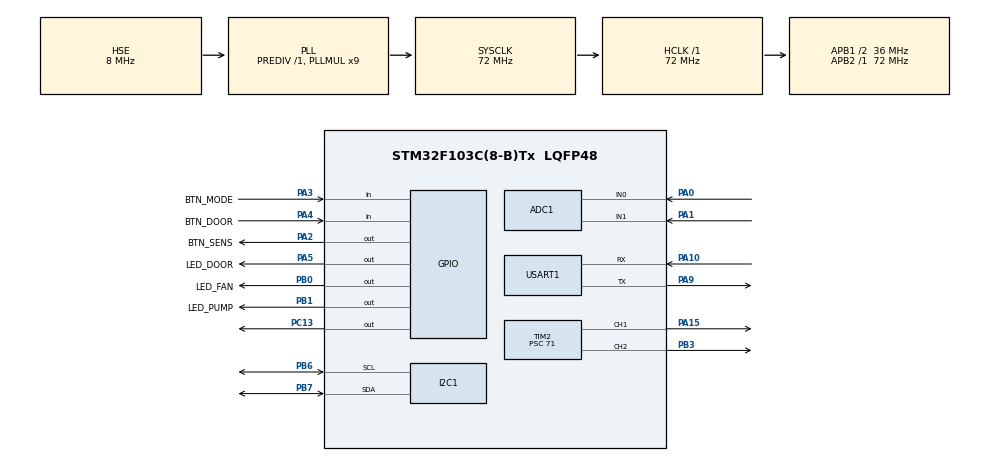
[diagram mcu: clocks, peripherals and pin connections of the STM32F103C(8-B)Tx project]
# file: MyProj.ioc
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ADC1.Channel-0\#ChannelRegularConversion=ADC_CHANNEL_0
ADC1.Channel-1\#ChannelRegularConversion=ADC_CHANNEL_1
ADC1.ContinuousConvMode=ENABLE
ADC1.NbrOfConversion=2
ADC1.NbrOfConversionFlag=1
ADC1.Rank-0\#ChannelRegularConversion=1
ADC1.Rank-1\#ChannelRegularConversion=2
ADC1.SamplingTime-0\#ChannelRegularConversion=ADC_SAMPLETIME_71CYCLES_5
ADC1.SamplingTime-1\#ChannelRegularConversion=ADC_SAMPLETIME_71CYCLES_5
ADC1.master=1
Dma.ADC1.0.Direction=DMA_PERIPH_TO_MEMORY
Dma.ADC1.0.Instance=DMA1_Channel1
Dma.ADC1.0.MemDataAlignment=DMA_MDATAALIGN_HALFWORD
Dma.ADC1.0.MemInc=DMA_MINC_ENABLE
Dma.ADC1.0.Mode=DMA_CIRCULAR
Dma.ADC1.0.PeriphDataAlignment=DMA_PDATAALIGN_HALFWORD
Dma.ADC1.0.PeriphInc=DMA_PINC_DISABLE
Dma.ADC1.0.Priority=DMA_PRIORITY_LOW
Dma.Request0=ADC1
I2C1.I2C_Mode=I2C_Fast
Mcu.Family=STM32F1
Mcu.Name=STM32F103C(8-B)Tx
Mcu.Package=LQFP48
NVIC.DMA1_Channel1_IRQn=true\:0\:0\:false\:false\:true\:false\:true\:true
NVIC.PriorityGroup=NVIC_PRIORITYGROUP_4
NVIC.USART1_IRQn=true\:0\:0\:false\:false\:true\:true\:true\:true
PA0-WKUP.Signal=ADCx_IN0
PA1.Signal=ADCx_IN1
PA10.Mode=Asynchronous
PA10.Signal=USART1_RX
PA13.Mode=Serial_Wire
PA13.Signal=SYS_JTMS-SWDIO
PA14.Mode=Serial_Wire
PA14.Signal=SYS_JTCK-SWCLK
PA15.Signal=S_TIM2_CH1_ETR
PA2.GPIO_Label=BTN_SENS
PA2.GPIO_ModeDefaultOutputPP=GPIO_MODE_OUTPUT_PP
PA2.GPIO_PuPd=GPIO_PULLUP
PA2.Signal=GPIO_Output
PA3.GPIO_Label=BTN_MODE
PA3.GPIO_PuPd=GPIO_PULLUP
PA3.Signal=GPIO_Input
PA4.GPIO_Label=BTN_DOOR
PA4.GPIO_PuPd=GPIO_PULLUP
PA4.Signal=GPIO_Input
PA5.GPIO_Label=LED_DOOR
PA5.Signal=GPIO_Output
PA9.Mode=Asynchronous
PA9.Signal=USART1_TX
PB0.GPIO_Label=LED_FAN
PB0.Signal=GPIO_Output
PB1.GPIO_Label=LED_PUMP
PB1.Signal=GPIO_Output
PB3.Signal=S_TIM2_CH2
PB6.Mode=I2C
PB6.Signal=I2C1_SCL
PB7.Mode=I2C
PB7.Signal=I2C1_SDA
PC13-TAMPER-RTC.Signal=GPIO_Output
PD0-OSC_IN.Mode=HSE-External-Oscillator
PD0-OSC_IN.Signal=RCC_OSC_IN
PD1-OSC_OUT.Mode=HSE-External-Oscillator
PD1-OSC_OUT.Signal=RCC_OSC_OUT
ProjectManager.HeapSize=0x200
ProjectManager.StackSize=0x400
ProjectManager.TargetToolchain=STM32CubeIDE
RCC.ADCPresc=RCC_ADCPCLK2_DIV6
RCC.AHBFreq_Value=72000000
RCC.APB1CLKDivider=RCC_HCLK_DIV2
RCC.APB1Freq_Value=36000000
RCC.APB1TimFreq_Value=72000000
RCC.APB2Freq_Value=72000000
RCC.APB2TimFreq_Value=72000000
RCC.HCLKFreq_Value=72000000
RCC.PLLMUL=RCC_PLL_MUL9
RCC.PLLSourceVirtual=RCC_PLLSOURCE_HSE
RCC.SYSCLKFreq_VALUE=72000000
RCC.SYSCLKSource=RCC_SYSCLKSOURCE_PLLCLK
RCC.USBFreq_Value=72000000
SH.ADCx_IN0.0=ADC1_IN0,IN0
SH.ADCx_IN1.0=ADC1_IN1,IN1
SH.S_TIM2_CH1_ETR.0=TIM2_CH1,PWM Generation1 CH1
SH.S_TIM2_CH2.0=TIM2_CH2,PWM Generation2 CH2
TIM2.AutoReloadPreload=TIM_AUTORELOAD_PRELOAD_ENABLE
TIM2.Channel-PWM\ Generation1\ CH1=TIM_CHANNEL_1
TIM2.Channel-PWM\ Generation2\ CH2=TIM_CHANNEL_2
TIM2.Period=999
TIM2.Prescaler=71
USART1.VirtualMode=VM_ASYNC
VP_TIM2_VS_ClockSourceINT.Mode=Internal
board=custom

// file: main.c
/* USER CODE BEGIN Header */
/**
  ******************************************************************************
  * @file           : main.c
  * @brief          : Main program body
  ******************************************************************************
  * @attention
  *
  * Copyright (c) 2026 STMicroelectronics.
  * All rights reserved.
  *
  * This software is licensed under terms that can be found in the LICENSE file
  * in the root directory of this software component.
  * If no LICENSE file comes with this software, it is provided AS-IS.
  *
  ******************************************************************************
  */
/* USER CODE END Header */
#include "main.h"
#include "adc.h"
#include "dma.h"
#include "i2c.h"
#include "tim.h"
#include "usart.h"
#include "gpio.h"

/* USER CODE BEGIN Includes */
#include "ssd1306.h"
#include "ssd1306_tests.h"
#include "ssd1306_fonts.h"
#include <stdio.h>
#include <string.h>
#include <stdlib.h>
/* USER CODE END Includes */

/* USER CODE BEGIN PTD */

/* ========================= Constants ========================= */

#define ADC_MAX 4095.0f

#define FAN_ON_TEMP       25.0f
#define FAN_OFF_TEMP      24.0f

#define HEAT_START_TEMP   18.0f
#define HEAT_FULL_TEMP    11.0f

#define RX_BUF_LEN 64

/* ========================= PINS ========================= */

#define FAN_GPIO_Port   GPIOB
#define FAN_Pin         GPIO_PIN_0

#define PUMP_GPIO_Port  GPIOB
#define PUMP_Pin        GPIO_PIN_1

#define HEAT_TIM        htim2
#define HEAT_CH         TIM_CHANNEL_1

#define CURTAIN_TIM     htim2
#define CURTAIN_CH      TIM_CHANNEL_2

#define DS18B20_PORT GPIOA
#define DS18B20_PIN  GPIO_PIN_2

/* ========================= VARIABLES ========================= */

volatile uint16_t AD_RES_BUFFER[2];  // [0]=HUM (Rank1), [1]=LDR (Rank2)

typedef enum {
  MODE_AUTO = 0,
  MODE_MANUAL = 1
} SystemMode_t;

SystemMode_t g_mode = MODE_AUTO; // just auto for now
uint8_t door_state = 0;   // 0 = CLOSED , 1 = OPEN
uint8_t btn_mode_last = GPIO_PIN_SET;

uint32_t adc_hum = 0;  // PA0
uint32_t adc_ldr = 0;  // PA1

uint8_t Temp_byte1, Temp_byte2;
uint16_t TEMP;
float Temperature = 0;
uint8_t Presence = 0;

static uint8_t rx_ch;
static char    rx_line[RX_BUF_LEN];
static uint8_t rx_idx = 0;

/*********************************************/
/* USER CODE END PTD */

void SystemClock_Config(void);
/* USER CODE BEGIN PFP */

/* ==================================== UART CONTROL =================================== */

static void PWM_SetPercent(TIM_HandleTypeDef *htim, uint32_t channel, uint8_t duty)
{
    if (duty > 100) duty = 100;
    uint32_t arr = __HAL_TIM_GET_AUTORELOAD(htim);
    uint32_t ccr = ((arr + 1U) * (uint32_t)duty) / 100U;
    __HAL_TIM_SET_COMPARE(htim, channel, ccr);
}

static void UART_Send(const char *s)
{
    HAL_UART_Transmit(&huart1, (uint8_t*)s, (uint16_t)strlen(s), 200);
}

static void Trim(char *s)
{
    size_t n = strlen(s);
    while (n && (s[n-1] == '\r' || s[n-1] == '\n' || s[n-1] == ' ' || s[n-1] == '\t')) s[--n] = 0;

    size_t i = 0;
    while (s[i] == ' ' || s[i] == '\t') i++;
    if (i) memmove(s, s + i, strlen(s + i) + 1);
}

static void ToUpperStr(char *s)
{
    for (; *s; s++) if (*s >= 'a' && *s <= 'z') *s = (char)(*s - 'a' + 'A');
}

static void ProcessCommand(char *cmd)
{
    Trim(cmd);
    ToUpperStr(cmd);

    // ===== STATUS command (works in AUTO and MANUAL) =====
    if (strcmp(cmd, "STATUS") == 0)
    {
        char buf[128];

        uint32_t hum_p = (adc_hum * 100U) / 4095U;
        uint32_t ldr_p = (adc_ldr * 100U) / 4095U;

        // Temperature with 2 decimals (like OLED)
        int temp_int  = (int)Temperature;
        int temp_frac = (int)((Temperature - temp_int) * 100 + 0.5f);
        if (temp_frac >= 100) { temp_frac = 0; temp_int++; }

        snprintf(buf, sizeof(buf),
                 "HUM=%lu%% LDR=%lu%% TEMP=%d.%02dC MODE=%s DOOR=%s\r\n",
                 hum_p, ldr_p,
                 temp_int, temp_frac,
                 (g_mode == MODE_AUTO) ? "AUTO" : "MANUAL",
                 door_state ? "OPEN" : "CLOSED");

        UART_Send(buf);
        return;
    }

    if (g_mode == MODE_AUTO) { UART_Send("AUTO MODE\r\n"); return; }

    if (strcmp(cmd, "FAN ON") == 0)  { HAL_GPIO_WritePin(FAN_GPIO_Port, FAN_Pin, GPIO_PIN_SET);   UART_Send("OK\r\n"); return; }
    if (strcmp(cmd, "FAN OFF") == 0) { HAL_GPIO_WritePin(FAN_GPIO_Port, FAN_Pin, GPIO_PIN_RESET); UART_Send("OK\r\n"); return; }

    if (strcmp(cmd, "PUMP ON") == 0)  { HAL_GPIO_WritePin(PUMP_GPIO_Port, PUMP_Pin, GPIO_PIN_SET);   UART_Send("OK\r\n"); return; }
    if (strcmp(cmd, "PUMP OFF") == 0) { HAL_GPIO_WritePin(PUMP_GPIO_Port, PUMP_Pin, GPIO_PIN_RESET); UART_Send("OK\r\n"); return; }

    if (strncmp(cmd, "HEAT ", 5) == 0) {
        int duty = atoi(cmd + 5);
        if (duty < 0) duty = 0;
        if (duty > 100) duty = 100;
        PWM_SetPercent(&HEAT_TIM, HEAT_CH, (uint8_t)duty);
        UART_Send("OK\r\n");
        return;
    }

    if (strncmp(cmd, "CURTAIN ", 8) == 0) {
        int duty = atoi(cmd + 8);
        if (duty < 0) duty = 0;
        if (duty > 100) duty = 100;
        PWM_SetPercent(&CURTAIN_TIM, CURTAIN_CH, (uint8_t)duty);
        UART_Send("OK\r\n");
        return;
    }

    UART_Send("ERR\r\n");
}

/**************************************************************************************************************************************/

/* ==================================== DS18B20 CONTROL =================================== */

void delay_us(uint16_t time)
{
__HAL_TIM_SET_COUNTER(&htim2,0);
while ((__HAL_TIM_GET_COUNTER(&htim2))<time);
}

void Set_Pin_Output(GPIO_TypeDef *GPIOx, uint16_t GPIO_Pin)
{
    GPIO_InitTypeDef GPIO_InitStruct = {0};
    GPIO_InitStruct.Pin = GPIO_Pin;
    GPIO_InitStruct.Mode = GPIO_MODE_OUTPUT_PP;
    GPIO_InitStruct.Speed = GPIO_SPEED_FREQ_LOW;
    HAL_GPIO_Init(GPIOx, &GPIO_InitStruct);
}

void Set_Pin_Input(GPIO_TypeDef *GPIOx, uint16_t GPIO_Pin)
{
    GPIO_InitTypeDef GPIO_InitStruct = {0};
    GPIO_InitStruct.Pin = GPIO_Pin;
    GPIO_InitStruct.Mode = GPIO_MODE_INPUT;
    GPIO_InitStruct.Pull = GPIO_NOPULL;
    HAL_GPIO_Init(GPIOx, &GPIO_InitStruct);
}

uint8_t DS18B20_Start (void)
{
	uint8_t Response = 0;
	Set_Pin_Output(DS18B20_PORT, DS18B20_PIN);   // set the pin as output
	HAL_GPIO_WritePin (DS18B20_PORT, DS18B20_PIN, 0);  // pull the pin low
	delay_us(480);   // delay according to datasheet

	Set_Pin_Input(DS18B20_PORT, DS18B20_PIN);    // set the pin as input
	delay_us(80);

	if (!(HAL_GPIO_ReadPin (DS18B20_PORT, DS18B20_PIN))) Response = 1;    // if the pin is low i.e the presence pulse is detected
		else Response = -1;

		delay_us (400); // 480 us delay totally.

		return Response;
	}

void DS18B20_Write (uint8_t data)
{
	Set_Pin_Output(DS18B20_PORT, DS18B20_PIN);  // set as output

	for (int i=0; i<8; i++)
	{
		if ((data & (1<<i))!=0)  // if the bit is high
		{
			// write 1
			Set_Pin_Output(DS18B20_PORT, DS18B20_PIN);  // set as output
			HAL_GPIO_WritePin (DS18B20_PORT, DS18B20_PIN, 0);  // pull the pin LOW
			delay_us (1);  // wait for 1 us

			Set_Pin_Input(DS18B20_PORT, DS18B20_PIN);  // set as input
			delay_us (50);  // wait for 50 us
		}

		else  // if the bit is low
		{
			// write 0
			Set_Pin_Output(DS18B20_PORT, DS18B20_PIN);
			HAL_GPIO_WritePin (DS18B20_PORT, DS18B20_PIN, 0);  // pull the pin LOW
			delay_us (50);  // wait for 50 us

			Set_Pin_Input(DS18B20_PORT, DS18B20_PIN);
		}
	}
}

uint8_t DS18B20_Read (void)
{
	uint8_t value=0;
	  Set_Pin_Input (DS18B20_PORT, DS18B20_PIN);

	for (int i=0;i<8;i++)
	{
		Set_Pin_Output (DS18B20_PORT, DS18B20_PIN);
		HAL_GPIO_WritePin (DS18B20_PORT,DS18B20_PIN, 0);  // pull the data pin LOW
		delay_us (2);  // wait for 2 us
		Set_Pin_Input (DS18B20_PORT, DS18B20_PIN);
		if (HAL_GPIO_ReadPin (DS18B20_PORT, DS18B20_PIN))  // if the pin is HIGH
		{
			value |= 1<<i;  // read = 1
		}
		delay_us (60);  // wait for 60 us
	}
	return value;
}

static uint32_t MapTempToHeaterPWM(float temp_c)
{
    if (temp_c >= HEAT_START_TEMP) return 0;
    if (temp_c <= HEAT_FULL_TEMP) return 100;

    float ratio = (HEAT_START_TEMP - temp_c) / (HEAT_START_TEMP - HEAT_FULL_TEMP);
    float duty  = ratio * 100.0f;

    if (duty < 0.0f) duty = 0.0f;
    if (duty > 100.0f) duty = 100.0f;

    return (uint32_t)(duty + 0.5f);
}

void Temp_Actuators_Update(float temp_c)
{
    static uint8_t fan_on = 0;

    if (!fan_on && temp_c >= FAN_ON_TEMP) fan_on = 1;
    else if (fan_on && temp_c <= FAN_OFF_TEMP) fan_on = 0;

    HAL_GPIO_WritePin(FAN_GPIO_Port, FAN_Pin,
                      fan_on ? GPIO_PIN_SET : GPIO_PIN_RESET);

    uint32_t duty_percent = 0;

    if (!fan_on)
        duty_percent = MapTempToHeaterPWM(temp_c);

    uint32_t arr = __HAL_TIM_GET_AUTORELOAD(&htim2);
    uint32_t ccr = ((arr + 1U) * duty_percent) / 100U;

    __HAL_TIM_SET_COMPARE(&htim2, TIM_CHANNEL_1, ccr);
}
/***************************************************************************************************************************************/

/* ==================================== PUSHBUTTONS CONTROL =================================== */

void HandleModeButton(void)
{
    GPIO_PinState btn_now = HAL_GPIO_ReadPin(GPIOA, GPIO_PIN_3);

    if (btn_mode_last == GPIO_PIN_SET && btn_now == GPIO_PIN_RESET)
    {
        g_mode = (g_mode == MODE_AUTO) ? MODE_MANUAL : MODE_AUTO;
        HAL_Delay(200);
    }

    btn_mode_last = btn_now;

    // --- MODE Indicator on LED PC13 (Active-LOW) ---
        if (g_mode == MODE_AUTO)
        {
            HAL_GPIO_WritePin(GPIOC, GPIO_PIN_13, GPIO_PIN_SET);
        }
        else
        {
            HAL_GPIO_WritePin(GPIOC, GPIO_PIN_13, GPIO_PIN_RESET);
        }

        // ===== Button 2 : PA4 → Door Sensor =====
        static uint8_t btn2_last = GPIO_PIN_SET;

        GPIO_PinState btn2_now = HAL_GPIO_ReadPin(GPIOA, GPIO_PIN_4);

        if (btn2_last == GPIO_PIN_SET && btn2_now == GPIO_PIN_RESET)
        {
            door_state = !door_state;
            HAL_Delay(200);
        }

        btn2_last = btn2_now;

        if (door_state)
            HAL_GPIO_WritePin(GPIOA, GPIO_PIN_5, GPIO_PIN_SET);   // OPEN
        else
            HAL_GPIO_WritePin(GPIOA, GPIO_PIN_5, GPIO_PIN_RESET); // CLOSED
}

/***********************************************************************************************************************************/

/* ==================================== PUMP LED CONTROL =================================== */

float Humidity_ToPercent(uint32_t adc)
{
    return (adc * 100.0f) / ADC_MAX;
}

void Pump_ControlByHumidity()
{

	const float HUM_TH = 50.0f;

	float hum_percent = Humidity_ToPercent(adc_hum);

  HAL_GPIO_WritePin(PUMP_GPIO_Port, PUMP_Pin, (hum_percent < HUM_TH) ? GPIO_PIN_SET : GPIO_PIN_RESET);
}

/***********************************************************************************************************************************/

/* ==================================== OLED DISPLAY CONTROL =================================== */

 void OLED_ShowValues()
{

    ssd1306_Fill(Black);
    ssd1306_SetCursor(0, 0);
    ssd1306_WriteString("Door:", Font_11x18, White);
    ssd1306_SetCursor(60, 0);
    ssd1306_WriteString((door_state) ? "OPEN" : "CLOSED", Font_11x18, White);
    ssd1306_SetCursor(0, 16);
    ssd1306_WriteString("Mode:", Font_11x18, White);
    ssd1306_SetCursor(60, 16);
    ssd1306_WriteString((g_mode == MODE_AUTO) ? "AUTO" : "MANUAL", Font_11x18, White);
    ssd1306_UpdateScreen();
    HAL_Delay(1500);

       uint32_t hum_p = (adc_hum * 100U) / 4095U;
       uint32_t ldr_p = (adc_ldr * 100U) / 4095U;

       char line1[24];
       char line2[24];
       char line3[24];

       int temp_int = (int)Temperature;
       int temp_frac = (int)((Temperature - temp_int) * 100 + 0.5f);

       if (temp_frac >= 100) { temp_frac = 0; temp_int++; }

       snprintf(line3, sizeof(line3), "TEMP: %d.%02d C", temp_int, temp_frac);
       snprintf(line1, sizeof(line1), "HUM: %lu %%", hum_p);
       snprintf(line2, sizeof(line2), "LDR: %lu %%", ldr_p);

       ssd1306_Fill(Black);
       ssd1306_SetCursor(0, 0);
       ssd1306_WriteString(line1, Font_11x18, White);
       ssd1306_SetCursor(0, 16);
       ssd1306_WriteString(line2, Font_11x18, White);
       ssd1306_SetCursor(0, 32);
       ssd1306_WriteString(line3, Font_11x18, White);
       ssd1306_UpdateScreen();
       HAL_Delay(3000);

           ssd1306_Fill(Black);
           ssd1306_SetCursor(14, 23);
           ssd1306_WriteString("READY :)", Font_11x18, White);
           ssd1306_UpdateScreen();
}

 /***********************************************************************************************************************************/

/* USER CODE END PFP */

int main(void)
{

  /* MCU Configuration--------------------------------------------------------*/

  /* Reset of all peripherals, Initializes the Flash interface and the Systick. */
  HAL_Init();

  /* Configure the system clock */
  SystemClock_Config();

  /* Initialize all configured peripherals */
  MX_GPIO_Init();
  MX_DMA_Init();
  MX_ADC1_Init();
  MX_I2C1_Init();
  MX_TIM2_Init();
  MX_USART1_UART_Init();
  /* USER CODE BEGIN 2 */

  HAL_UART_Receive_IT(&huart1, &rx_ch, 1);
  HAL_ADC_Start_DMA(&hadc1, (uint32_t*)AD_RES_BUFFER, 2);
  ssd1306_Init();
  HAL_GPIO_WritePin(GPIOC, GPIO_PIN_13, GPIO_PIN_SET);
  HAL_TIM_PWM_Start(&htim2, TIM_CHANNEL_1);
  HAL_TIM_PWM_Start(&htim2, TIM_CHANNEL_2);

  ssd1306_Fill(Black);
      ssd1306_SetCursor(16, 19);
      ssd1306_WriteString("HELLOW", Font_16x26, White);
      ssd1306_UpdateScreen();
      HAL_Delay(2000);

  //ssd1306_SetDisplayOn(0);
  /* USER CODE END 2 */

  /* Infinite loop */
  /* USER CODE BEGIN WHILE */
  while (1)
  {

	  /***************** DS18B20 Command **************/
	         Presence = DS18B20_Start ();
	  	     HAL_Delay(1);
	  	     DS18B20_Write (0xCC);  // skip ROM
	  	     DS18B20_Write (0x44);  // convert t
	  	     HAL_Delay(800);

	  	     Presence = DS18B20_Start ();
	  	     HAL_Delay(1);
	  	     DS18B20_Write (0xCC);  // skip ROM
	  	     DS18B20_Write (0xBE);  // Read Scratch-pad

	  	     Temp_byte1 = DS18B20_Read();
	  	     Temp_byte2 = DS18B20_Read();
	  	     TEMP = ((Temp_byte2<<8))|Temp_byte1;
	  	     Temperature = (float)TEMP/16.0;  // resolution is 0.0625

	  	     HAL_Delay(3000);

	  /*********************************************************/

	  if (g_mode == MODE_AUTO)
	  	  	  {

	  	      Temp_Actuators_Update(Temperature);

	     	  Pump_ControlByHumidity();

	  	  	  }

	  	  OLED_ShowValues();

	  	for (int i = 0; i < 30; i++)   // 50 × 30ms = 1500ms
	  	{
	  	    HandleModeButton();
	  	    HAL_Delay(50);
	  	}

    /* USER CODE END WHILE */

  }
}

void SystemClock_Config(void)
{
  RCC_OscInitTypeDef RCC_OscInitStruct = {0};
  RCC_ClkInitTypeDef RCC_ClkInitStruct = {0};
  RCC_PeriphCLKInitTypeDef PeriphClkInit = {0};

  /** Initializes the RCC Oscillators according to the specified parameters
  * in the RCC_OscInitTypeDef structure.
  */
  RCC_OscInitStruct.OscillatorType = RCC_OSCILLATORTYPE_HSE;
  RCC_OscInitStruct.HSEState = RCC_HSE_ON;
  RCC_OscInitStruct.HSEPredivValue = RCC_HSE_PREDIV_DIV1;
  RCC_OscInitStruct.HSIState = RCC_HSI_ON;
  RCC_OscInitStruct.PLL.PLLState = RCC_PLL_ON;
  RCC_OscInitStruct.PLL.PLLSource = RCC_PLLSOURCE_HSE;
  RCC_OscInitStruct.PLL.PLLMUL = RCC_PLL_MUL9;
  if (HAL_RCC_OscConfig(&RCC_OscInitStruct) != HAL_OK)
  {
    Error_Handler();
  }

  /** Initializes the CPU, AHB and APB buses clocks
  */
  RCC_ClkInitStruct.ClockType = RCC_CLOCKTYPE_HCLK|RCC_CLOCKTYPE_SYSCLK
                              |RCC_CLOCKTYPE_PCLK1|RCC_CLOCKTYPE_PCLK2;
  RCC_ClkInitStruct.SYSCLKSource = RCC_SYSCLKSOURCE_PLLCLK;
  RCC_ClkInitStruct.AHBCLKDivider = RCC_SYSCLK_DIV1;
  RCC_ClkInitStruct.APB1CLKDivider = RCC_HCLK_DIV2;
  RCC_ClkInitStruct.APB2CLKDivider = RCC_HCLK_DIV1;

  if (HAL_RCC_ClockConfig(&RCC_ClkInitStruct, FLASH_LATENCY_2) != HAL_OK)
  {
    Error_Handler();
  }
  PeriphClkInit.PeriphClockSelection = RCC_PERIPHCLK_ADC;
  PeriphClkInit.AdcClockSelection = RCC_ADCPCLK2_DIV6;
  if (HAL_RCCEx_PeriphCLKConfig(&PeriphClkInit) != HAL_OK)
  {
    Error_Handler();
  }
}

/* USER CODE BEGIN 4 */

void HAL_ADC_ConvCpltCallback(ADC_HandleTypeDef* hadc)
{
    if (hadc->Instance == ADC1)
    {
        adc_hum = AD_RES_BUFFER[0];
        adc_ldr = AD_RES_BUFFER[1];

        if (g_mode == MODE_AUTO)
        {
            uint32_t arr = __HAL_TIM_GET_AUTORELOAD(&htim2);
            uint32_t pwm = (AD_RES_BUFFER[1] * (arr + 1U)) / 4095U;
            TIM2->CCR2 = (arr + 1U) - pwm;
        }
    }
}

void HAL_UART_RxCpltCallback(UART_HandleTypeDef *huart)
{
    if (huart->Instance == USART1)
    {
        if (rx_ch == '\r' || rx_ch == '\n')
        {
            rx_line[rx_idx] = '\0';
            if (rx_idx > 0) ProcessCommand(rx_line);
            rx_idx = 0;
        }
        else
        {
            if (rx_idx < (RX_BUF_LEN - 1)) rx_line[rx_idx++] = (char)rx_ch;
            else rx_idx = 0;
        }

        HAL_UART_Receive_IT(&huart1, &rx_ch, 1);
    }
}

/* USER CODE END 4 */

void Error_Handler(void)
{
  __disable_irq();
  while (1)
  {
  }
}
